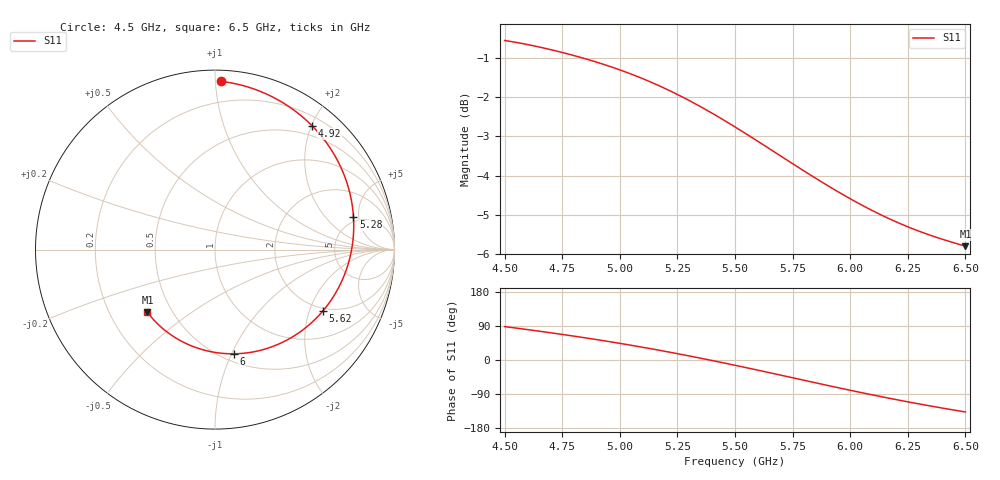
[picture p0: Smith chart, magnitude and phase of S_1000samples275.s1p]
! TOUCHSTONE file generated by CST MICROWAVE STUDIO
! Date and time: Thu Oct 27 14:38:33 2022
! Project name: L.cst
! Parameters = {Di=1.27; Epsilon_r=1.56; InnerDiameter=1.27; Length=2; Lf=10; Lg=60; OuterConductorThickness=0.2921; OuterDiameter=3.6; Wf=3; Wp=41.2; de=1.5; df=6.8; g=0.8; gx=2.64834; gy=3.21777; h=2.34; hf=1.524; px=11.3435; py=10.8247; w=9.7; wx=8.69516; wy=7.60688}
! Header version: 2018
! Port assignment regex: !\s*Touchstone port\s*([0-9]+)\s*=\s*(CST MWS port|CST DS port)\s*([0-9]+|Zmin|Zmax)\s*\(\"(.*)\"\)(\s*mode\s*([0-9]+))?.*
! Touchstone port assignment:
! Touchstone port 1 = CST MWS port 1 ("")
# GHz S DB R 50
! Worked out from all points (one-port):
!   101 points, 4.5 GHz to 6.5 GHz, reference 50 ohm
!   lowest |S11| = -5.8 dB at 6.5 GHz (marker M1), VSWR 3.11, Z = 18.3 - j17.3 ohm
!   |S11| at or under -10 dB: nowhere
!   S11 on the Smith chart (normalised r, x): 4.5 GHz: 0.07, +1.03; 4.92 GHz: 0.34, +2.01; 5.28 GHz: 4.38, +4.26; 5.62 GHz: 1.90, -2.48; 6 GHz: 0.57, -1.02; 6.5 GHz: 0.37, -0.35
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4.5  -0.55 88.1
4.58  -0.64 81.8
4.64  -0.71 76.9
4.76  -0.88 66.6
4.84  -1.00 59.4
4.92  -1.15 51.8
5  -1.30 43.9
5.08  -1.48 35.6
5.14  -1.63 29.1
5.2  -1.79 22.5
5.26  -1.96 15.6
5.28  -2.02 13.2
5.38  -2.34 1.2
5.44  -2.54 -6.3
5.5  -2.76 -13.9
5.56  -2.98 -21.7
5.62  -3.20 -29.6
5.7  -3.50 -40.2
5.76  -3.73 -48.2
5.82  -3.95 -56.2
5.88  -4.17 -64.2
5.94  -4.38 -72.1
6  -4.59 -79.9
6.06  -4.78 -87.5
6.12  -4.96 -94.9
6.26  -5.32 -111.5
6.38  -5.58 -124.7
6.5  -5.79 -137.1
